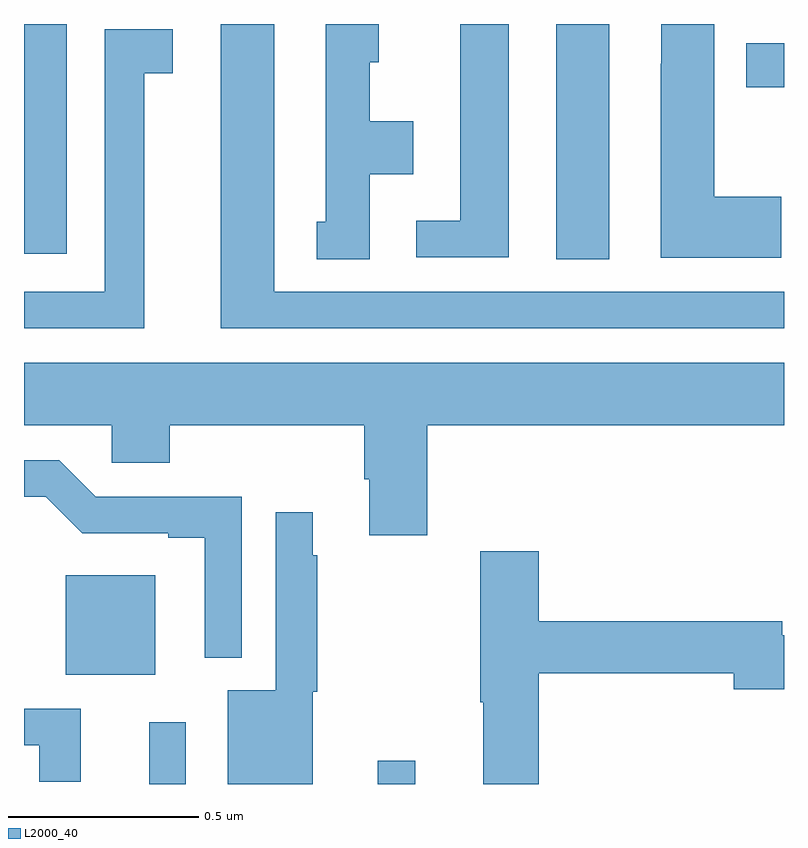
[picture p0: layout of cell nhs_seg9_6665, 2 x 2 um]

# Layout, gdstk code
import gdstk
lib = gdstk.Library(unit=1e-6, precision=1e-09)
def R(c, l, rs):  # rectangles x0, y0, x1, y1
    for r in rs: c.add(gdstk.rectangle(r[:2], r[2:], *l))
def P(c, l, *ps):  # polygons
    for p in ps: c.add(gdstk.Polygon(p, *l))
L2000_40 = (2000, 40)

nhs_seg9_6665 = lib.new_cell('nhs_seg9_6665')
R(nhs_seg9_6665, L2000_40, [(195.329,1171.5,195.426,1171.663), (195.931,1171.5,196.03,1171.561), (195.11,1171.787,195.346,1172.05), (196.4,1172.881,196.54,1173.5), (195,1172.895,195.112,1173.5), (196.901,1173.334,197,1173.45)])
P(nhs_seg9_6665, L2000_40, [(196.993,1173.045),(196.816,1173.045),(196.816,1173.5),(196.677,1173.5),(196.677,1173.395),(196.676,1173.395),(196.676,1172.885),(196.993,1172.885)],
  [(195.91,1173.104),(196.024,1173.104),(196.024,1173.244),(195.91,1173.244),(195.91,1173.399),(195.934,1173.399),(195.934,1173.5),(195.794,1173.5),(195.794,1172.979),(195.77,1172.979),(195.77,1172.881),(195.91,1172.881)],
  [(197,1172.796),(195.658,1172.796),(195.658,1173.5),(195.518,1173.5),(195.518,1172.7),(197,1172.7)],
  [(196.276,1173.5),(196.148,1173.5),(196.148,1172.982),(196.032,1172.982),(196.032,1172.886),(196.276,1172.886)],
  [(195.316,1173.37),(195.391,1173.37),(195.391,1173.486),(195.212,1173.486),(195.212,1172.796),(195,1172.796),(195,1172.7),(195.316,1172.7)],
  [(196.061,1172.444),(197,1172.444),(197,1172.608),(195,1172.608),(195,1172.444),(195.231,1172.444),(195.231,1172.346),(195.383,1172.346),(195.383,1172.444),(195.896,1172.444),(195.896,1172.302),(195.908,1172.302),(195.908,1172.154),(196.061,1172.154)],
  [(195.573,1172.256),(195.189,1172.256),(195.093,1172.352),(195,1172.352),(195,1172.256),(195.057,1172.256),(195.153,1172.16),(195.38,1172.16),(195.38,1172.148),(195.476,1172.148),(195.476,1171.832),(195.573,1171.832)],
  [(195.76,1171.743),(195.772,1171.743),(195.772,1172.102),(195.76,1172.102),(195.76,1172.215),(195.663,1172.215),(195.663,1171.747),(195.536,1171.747),(195.536,1171.5),(195.76,1171.5)],
  [(196.355,1171.792),(196.868,1171.792),(196.868,1171.75),(197,1171.75),(197,1171.892),(196.996,1171.892),(196.996,1171.928),(196.355,1171.928),(196.355,1172.113),(196.201,1172.113),(196.201,1171.715),(196.208,1171.715),(196.208,1171.5),(196.355,1171.5)],
  [(195.149,1171.698),(195,1171.698),(195,1171.602),(195.04,1171.602),(195.04,1171.506),(195.149,1171.506)])

lib.write_gds('nhs_seg9_6665.gds')
